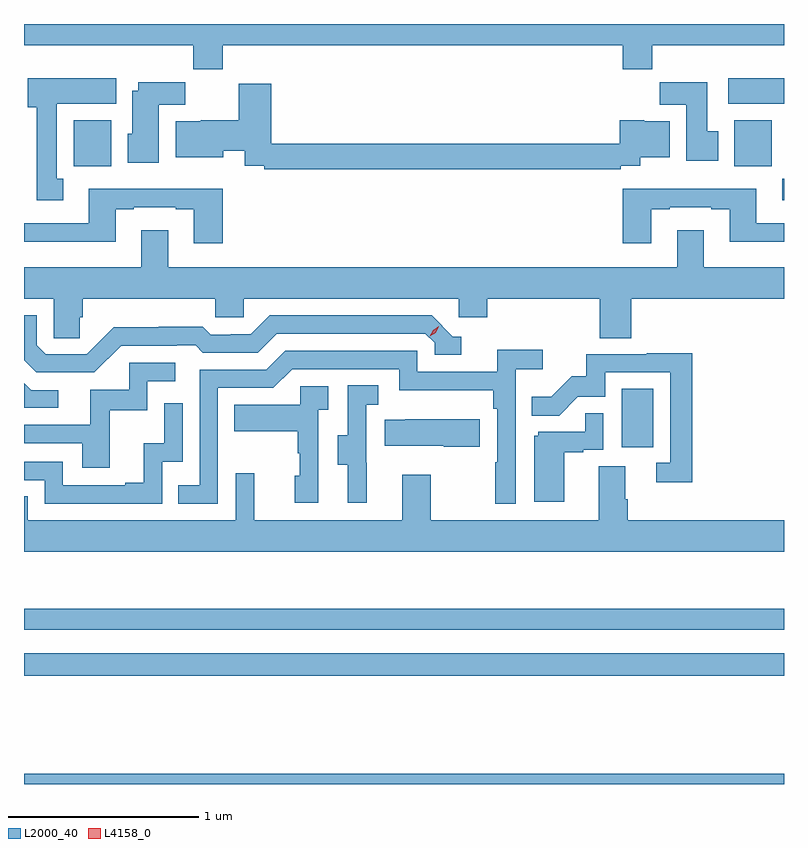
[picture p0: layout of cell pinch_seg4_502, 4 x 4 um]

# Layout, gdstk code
import gdstk
lib = gdstk.Library(unit=1e-6, precision=1e-09)
def R(c, l, rs):  # rectangles x0, y0, x1, y1
    for r in rs: c.add(gdstk.rectangle(r[:2], r[2:], *l))
def P(c, l, *ps):  # polygons
    for p in ps: c.add(gdstk.Polygon(p, *l))
L2000_40 = (2000, 40)
L4158_0 = (4158, 0)

pinch_seg4_502 = lib.new_cell('pinch_seg4_502')
R(pinch_seg4_502, L2000_40, [(999.155,759.633,1003.155,759.688), (999.155,760.204,1003.155,760.32), (999.155,760.446,1003.155,760.555), (1002.302,761.406,1002.466,761.713), (1003.145,762.705,1003.155,762.818), (999.416,762.884,999.613,763.126), (1002.893,762.884,1003.09,763.126), (1002.861,763.214,1003.155,763.348)])
P(pinch_seg4_502, L2000_40, [(1000.202,763.52),(1002.305,763.52),(1002.305,763.396),(1002.461,763.396),(1002.461,763.52),(1003.155,763.52),(1003.155,763.633),(999.155,763.633),(999.155,763.52),(1000.045,763.52),(1000.045,763.396),(1000.202,763.396)],
  [(999.361,762.818),(999.328,762.818),(999.328,763.214),(999.64,763.214),(999.64,763.348),(999.176,763.348),(999.176,763.194),(999.221,763.194),(999.221,762.705),(999.361,762.705)],
  [(999.865,763.208),(1000.004,763.208),(1000.004,763.327),(999.755,763.327),(999.755,763.282),(999.725,763.282),(999.725,763.056),(999.701,763.056),(999.701,762.902),(999.865,762.902)],
  [(1002.808,763.068),(1002.751,763.068),(1002.751,763.327),(1002.502,763.327),(1002.502,763.208),(1002.641,763.208),(1002.641,762.912),(1002.808,762.912)],
  [(1002.296,762.888),(1002.399,762.888),(1002.399,762.932),(1002.553,762.932),(1002.553,763.12),(1002.42,763.12),(1002.42,763.126),(1002.291,763.126),(1002.291,763.004),(1000.457,763.004),(1000.457,763.318),(1000.286,763.318),(1000.286,763.126),(1000.086,763.126),(1000.086,763.12),(999.953,763.12),(999.953,762.932),(1000.204,762.932),(1000.204,762.965),(1000.316,762.965),(1000.316,762.888),(1000.42,762.888),(1000.42,762.868),(1002.296,762.868)],
  [(1000.202,762.766),(999.497,762.766),(999.497,762.585),(999.155,762.585),(999.155,762.488),(999.637,762.488),(999.637,762.657),(999.733,762.657),(999.733,762.669),(999.953,762.669),(999.953,762.657),(1000.049,762.657),(1000.049,762.48),(1000.202,762.48)],
  [(1002.457,762.657),(1002.553,762.657),(1002.553,762.669),(1002.773,762.669),(1002.773,762.657),(1002.869,762.657),(1002.869,762.488),(1003.155,762.488),(1003.155,762.585),(1003.009,762.585),(1003.009,762.766),(1002.305,762.766),(1002.305,762.48),(1002.457,762.48)],
  [(999.155,762.188),(999.312,762.188),(999.312,761.98),(999.449,761.98),(999.449,762.09),(999.464,762.09),(999.464,762.188),(1000.161,762.188),(1000.161,762.09),(1000.311,762.09),(1000.311,762.188),(1001.442,762.188),(1001.442,762.09),(1001.594,762.09),(1001.594,762.188),(1002.185,762.188),(1002.185,761.98),(1002.35,761.98),(1002.35,762.188),(1003.155,762.188),(1003.155,762.352),(1002.733,762.352),(1002.733,762.547),(1002.593,762.547),(1002.593,762.352),(999.913,762.352),(999.913,762.547),(999.773,762.547),(999.773,762.352),(999.155,762.352)],
  [(999.666,761.94),(999.959,761.94),(999.959,761.943),(1000.058,761.943),(1000.097,761.904),(1000.386,761.904),(1000.485,762.003),(1001.268,762.003),(1001.316,761.955),(1001.316,761.892),(1001.455,761.892),(1001.455,761.988),(1001.412,761.988),(1001.301,762.099),(1000.448,762.099),(1000.349,762),(1000.242,762),(1000.242,761.997),(1000.139,761.997),(1000.097,762.04),(999.864,762.04),(999.864,762.037),(999.628,762.037),(999.486,761.895),(999.27,761.895),(999.222,761.943),(999.222,762.099),(999.155,762.099),(999.155,761.863),(999.219,761.799),(999.525,761.799)],
  [(1000.176,761.718),(1000.467,761.718),(1000.566,761.817),(1001.13,761.817),(1001.13,761.705),(1001.626,761.705),(1001.626,761.609),(1001.646,761.609),(1001.646,761.327),(1001.634,761.327),(1001.634,761.109),(1001.742,761.109),(1001.742,761.816),(1001.884,761.816),(1001.884,761.918),(1001.645,761.918),(1001.645,761.802),(1001.226,761.802),(1001.226,761.913),(1000.529,761.913),(1000.43,761.814),(1000.08,761.814),(1000.08,761.205),(999.967,761.205),(999.967,761.109),(1000.176,761.109)],
  [(1002.671,761.9),(1002.433,761.9),(1002.433,761.895),(1002.115,761.895),(1002.115,761.778),(1002.038,761.778),(1001.931,761.671),(1001.827,761.671),(1001.827,761.572),(1001.971,761.572),(1002.069,761.67),(1002.213,761.67),(1002.213,761.799),(1002.555,761.799),(1002.555,761.325),(1002.483,761.325),(1002.483,761.22),(1002.671,761.22)],
  [(999.605,761.601),(999.804,761.601),(999.804,761.754),(999.952,761.754),(999.952,761.85),(999.708,761.85),(999.708,761.709),(999.503,761.709),(999.503,761.523),(999.155,761.523),(999.155,761.427),(999.461,761.427),(999.461,761.298),(999.605,761.298)],
  [(999.334,761.706),(999.192,761.706),(999.155,761.743),(999.155,761.613),(999.334,761.613)],
  [(1000.958,761.325),(1000.956,761.325),(1000.956,761.629),(1001.02,761.629),(1001.02,761.732),(1000.86,761.732),(1000.86,761.469),(1000.805,761.469),(1000.805,761.314),(1000.859,761.314),(1000.859,761.112),(1000.958,761.112)],
  [(1000.704,761.603),(1000.756,761.603),(1000.756,761.727),(1000.608,761.727),(1000.608,761.629),(1000.261,761.629),(1000.261,761.489),(1000.596,761.489),(1000.596,761.375),(1000.606,761.375),(1000.606,761.256),(1000.58,761.256),(1000.58,761.112),(1000.704,761.112)],
  [(999.882,761.328),(999.99,761.328),(999.99,761.638),(999.894,761.638),(999.894,761.426),(999.785,761.426),(999.785,761.218),(999.689,761.218),(999.689,761.205),(999.36,761.205),(999.36,761.328),(999.155,761.328),(999.155,761.232),(999.264,761.232),(999.264,761.109),(999.882,761.109)],
  [(1001.998,761.379),(1002.098,761.379),(1002.098,761.391),(1002.204,761.391),(1002.204,761.585),(1002.109,761.585),(1002.109,761.487),(1001.862,761.487),(1001.862,761.466),(1001.84,761.466),(1001.84,761.118),(1001.998,761.118)],
  [(1001.554,761.554),(1001.161,761.554),(1001.161,761.551),(1001.053,761.551),(1001.053,761.414),(1001.363,761.414),(1001.363,761.407),(1001.554,761.407)],
  [(1003.155,761.02),(1002.332,761.02),(1002.332,761.132),(1002.319,761.132),(1002.319,761.306),(1002.179,761.306),(1002.179,761.02),(1001.295,761.02),(1001.295,761.26),(1001.147,761.26),(1001.147,761.02),(1000.367,761.02),(1000.367,761.269),(1000.269,761.269),(1000.269,761.02),(999.174,761.02),(999.174,761.147),(999.155,761.147),(999.155,760.856),(1003.155,760.856)])
P(pinch_seg4_502, L4158_0, [(1001.291,761.99),(1001.291,761.99),(1001.308,762.022),(1001.338,762.041),(1001.339,762.041),(1001.339,762.041),(1001.322,762.009),(1001.291,761.99)])

lib.write_gds('pinch_seg4_502.gds')
